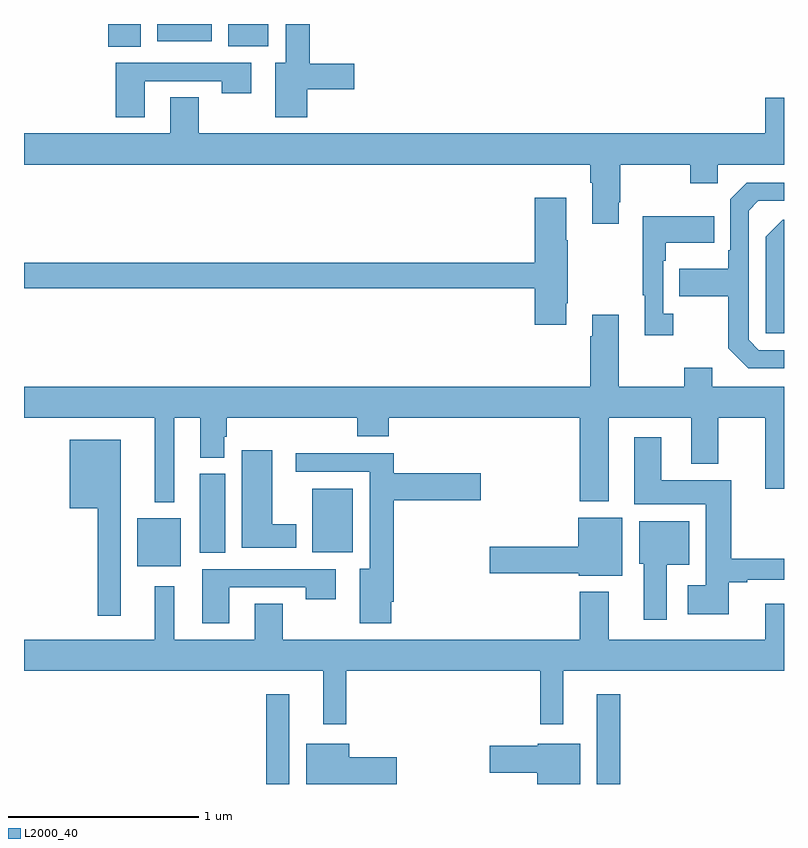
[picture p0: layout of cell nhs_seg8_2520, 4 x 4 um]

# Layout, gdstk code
import gdstk
lib = gdstk.Library(unit=1e-6, precision=1e-09)
def R(c, l, rs):  # rectangles x0, y0, x1, y1
    for r in rs: c.add(gdstk.rectangle(r[:2], r[2:], *l))
def P(c, l, *ps):  # polygons
    for p in ps: c.add(gdstk.Polygon(p, *l))
L2000_40 = (2000, 40)

nhs_seg8_2520 = lib.new_cell('nhs_seg8_2520')
R(nhs_seg8_2520, L2000_40, [(270.276,1119.9,270.397,1120.372), (272.015,1119.9,272.137,1120.372), (269.597,1121.045,269.824,1121.299), (269.924,1121.116,270.058,1121.532), (270.518,1121.12,270.73,1121.455), (269.444,1123.78,269.614,1123.9), (270.074,1123.784,270.286,1123.9), (269.702,1123.808,269.989,1123.9)])
P(nhs_seg8_2520, L2000_40, [(270.49,1123.556),(270.739,1123.556),(270.739,1123.691),(270.503,1123.691),(270.503,1123.9),(270.377,1123.9),(270.377,1123.696),(270.323,1123.696),(270.323,1123.41),(270.49,1123.41)],
  [(269.635,1123.599),(270.04,1123.599),(270.04,1123.536),(270.196,1123.536),(270.196,1123.695),(269.483,1123.695),(269.483,1123.41),(269.635,1123.41)],
  [(273,1123.513),(272.9,1123.513),(272.9,1123.324),(269.919,1123.324),(269.919,1123.514),(269.771,1123.514),(269.771,1123.324),(269,1123.324),(269,1123.16),(271.979,1123.16),(271.979,1123.064),(271.991,1123.064),(271.991,1122.849),(272.131,1122.849),(272.131,1122.961),(272.139,1122.961),(272.139,1123.16),(272.506,1123.16),(272.506,1123.061),(272.652,1123.061),(272.652,1123.16),(273,1123.16)],
  [(273,1122.183),(272.868,1122.183),(272.814,1122.237),(272.814,1122.918),(272.865,1122.969),(273,1122.969),(273,1123.065),(272.805,1123.065),(272.718,1122.978),(272.718,1122.709),(272.706,1122.709),(272.706,1122.613),(272.449,1122.613),(272.449,1122.466),(272.706,1122.466),(272.706,1122.193),(272.811,1122.087),(273,1122.087)],
  [(271.855,1122.43),(271.863,1122.43),(271.863,1122.761),(271.855,1122.761),(271.855,1122.985),(271.688,1122.985),(271.688,1122.644),(269,1122.644),(269,1122.508),(271.688,1122.508),(271.688,1122.318),(271.855,1122.318)],
  [(272.416,1122.374),(272.364,1122.374),(272.364,1122.653),(272.377,1122.653),(272.377,1122.749),(272.633,1122.749),(272.633,1122.889),(272.256,1122.889),(272.256,1122.473),(272.267,1122.473),(272.267,1122.261),(272.416,1122.261)],
  [(273,1122.87),(272.994,1122.87),(272.904,1122.78),(272.904,1122.273),(273,1122.273)],
  [(269.791,1121.828),(269.927,1121.828),(269.927,1121.617),(270.055,1121.617),(270.055,1121.727),(270.068,1121.727),(270.068,1121.828),(270.755,1121.828),(270.755,1121.729),(270.92,1121.729),(270.92,1121.828),(271.925,1121.828),(271.925,1121.387),(272.077,1121.387),(272.077,1121.828),(272.513,1121.828),(272.513,1121.585),(272.653,1121.585),(272.653,1121.828),(272.9,1121.828),(272.9,1121.454),(273,1121.454),(273,1121.992),(272.623,1121.992),(272.623,1122.091),(272.476,1122.091),(272.476,1121.992),(272.131,1121.992),(272.131,1122.37),(271.991,1122.37),(271.991,1122.257),(271.979,1122.257),(271.979,1121.992),(269,1121.992),(269,1121.828),(269.687,1121.828),(269.687,1121.384),(269.791,1121.384)],
  [(272.71,1120.962),(272.806,1120.962),(272.806,1120.974),(273,1120.974),(273,1121.086),(272.723,1121.086),(272.723,1121.5),(272.353,1121.5),(272.353,1121.725),(272.213,1121.725),(272.213,1121.372),(272.588,1121.372),(272.588,1120.945),(272.493,1120.945),(272.493,1120.793),(272.71,1120.793)],
  [(269.509,1121.713),(269.24,1121.713),(269.24,1121.351),(269.388,1121.351),(269.388,1120.785),(269.509,1120.785)],
  [(270.433,1121.266),(270.307,1121.266),(270.307,1121.656),(270.146,1121.656),(270.146,1121.144),(270.433,1121.144)],
  [(270.934,1120.858),(270.947,1120.858),(270.947,1121.393),(271.405,1121.393),(271.405,1121.535),(270.947,1121.535),(270.947,1121.642),(270.429,1121.642),(270.429,1121.544),(270.821,1121.544),(270.821,1121.032),(270.767,1121.032),(270.767,1120.746),(270.934,1120.746)],
  [(272.149,1121.302),(271.916,1121.302),(271.916,1121.15),(271.452,1121.15),(271.452,1121.008),(271.92,1121.008),(271.92,1120.997),(272.149,1120.997)],
  [(272.383,1121.054),(272.5,1121.054),(272.5,1121.284),(272.237,1121.284),(272.237,1121.058),(272.261,1121.058),(272.261,1120.764),(272.383,1120.764)],
  [(270.079,1120.935),(270.484,1120.935),(270.484,1120.872),(270.64,1120.872),(270.64,1121.031),(269.939,1121.031),(269.939,1120.746),(270.079,1120.746)],
  [(270.575,1120.215),(270.697,1120.215),(270.697,1120.496),(271.716,1120.496),(271.716,1120.215),(271.837,1120.215),(271.837,1120.496),(273,1120.496),(273,1120.849),(272.9,1120.849),(272.9,1120.66),(272.077,1120.66),(272.077,1120.912),(271.925,1120.912),(271.925,1120.66),(270.363,1120.66),(270.363,1120.85),(270.215,1120.85),(270.215,1120.66),(269.791,1120.66),(269.791,1120.942),(269.687,1120.942),(269.687,1120.66),(269,1120.66),(269,1120.496),(270.575,1120.496)],
  [(270.961,1120.041),(270.712,1120.041),(270.712,1120.111),(270.485,1120.111),(270.485,1119.9),(270.961,1119.9)],
  [(271.927,1120.111),(271.704,1120.111),(271.704,1120.101),(271.452,1120.101),(271.452,1119.959),(271.7,1119.959),(271.7,1119.9),(271.927,1119.9)])

lib.write_gds('nhs_seg8_2520.gds')
